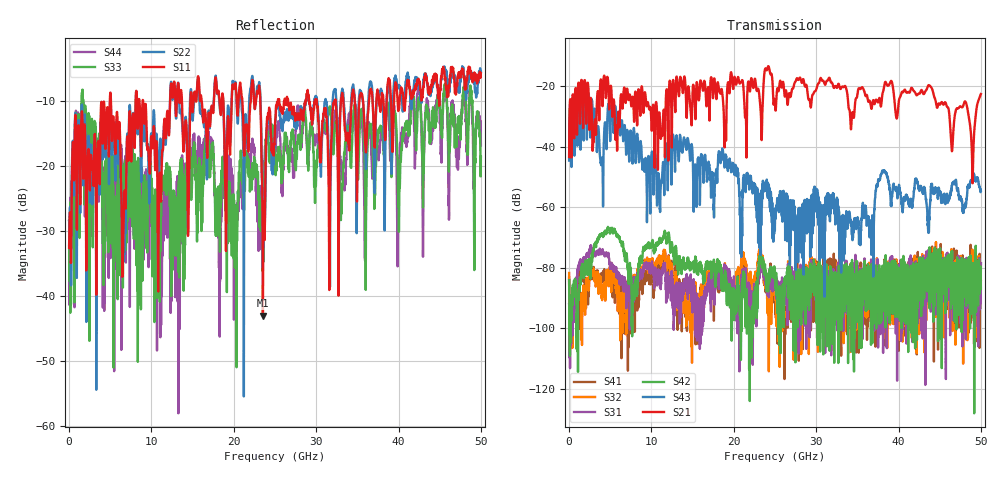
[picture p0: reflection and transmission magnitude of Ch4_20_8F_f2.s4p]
!Agilent Technologies,N5247A,US51170199,A.09.90.13
!Agilent N5247A: A.09.90.13
!Date: Monday, December 14, 2015 15:38:08
!Correction: S11(Full 4 Port(1,2,3,4))
!S12(Full 4 Port(1,2,3,4))
!S13(Full 4 Port(1,2,3,4))
!S14(Full 4 Port(1,2,3,4))
!S21(Full 4 Port(1,2,3,4))
!S22(Full 4 Port(1,2,3,4))
!S23(Full 4 Port(1,2,3,4))
!S24(Full 4 Port(1,2,3,4))
!S31(Full 4 Port(1,2,3,4))
!S32(Full 4 Port(1,2,3,4))
!S33(Full 4 Port(1,2,3,4))
!S34(Full 4 Port(1,2,3,4))
!S41(Full 4 Port(1,2,3,4))
!S42(Full 4 Port(1,2,3,4))
!S43(Full 4 Port(1,2,3,4))
!S44(Full 4 Port(1,2,3,4))
!S4P File: Measurements: <S11,S12,S13,S14>,
!<S21,S22,S23,S24>,
!<S31,S32,S33,S34>,
!<S41,S42,S43,S44>:
# Hz S  dB  R 50
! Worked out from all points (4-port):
!   3201 points, 10 MHz to 50 GHz, reference 50 ohm
!   strongest paths, dB at 10 MHz, 12.51 GHz, 25 GHz, 37.5 GHz, 50 GHz:
!     S21: -43.4, -28.3, -25.6, -25.4, -22.6
!     S43: -44.6, -39.3, -62.9, -51.9, -54.6
!     S42: -84.0, -71.8, -83.6, -84.5, -86.9
!     S31: -92.0, -85.6, -83.0, -92.0, -78.5
!     S32: -81.8, -80.5, -90.0, -81.9, -84.3
!     S41: -83.3, -79.0, -84.4, -88.5, -78.5
!   lowest |S11| = -43.0 dB at 23.54 GHz (marker M1), VSWR 1.01, Z = 49.4 - j0.313 ohm
!   |S11| at or under -10 dB: start of sweep to 4.951 GHz; 5.089 GHz to 8.084 GHz (2.995 GHz wide, 45.5 % of centre); 8.994 GHz to 12.27 GHz (3.272 GHz wide, 30.8 % of centre)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
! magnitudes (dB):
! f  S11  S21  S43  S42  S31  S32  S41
! 10 MHz  -32.6  -43.4  -44.6  -84.0  -92.0  -81.8  -83.3
! 12.59 GHz  -9.5  -19.0  -36.0  -74.4  -90.3  -87.7  -82.6
! 22.97 GHz  -8.5  -20.9  -59.1  -81.5  -81.1  -77.5  -83.9
! 23.54 GHz  -43.0  -24.1  -51.3  -78.4  -80.5  -78.8  -80.6
! 43.77 GHz  -8.4  -19.8  -61.7  -73.3  -86.6  -78.8  -78.3
! 48.97 GHz  -6.9  -49.3  -49.8  -82.3  -88.9  -74.1  -79.0
! 50 GHz  -5.7  -22.6  -54.6  -86.9  -78.5  -84.3  -78.5
